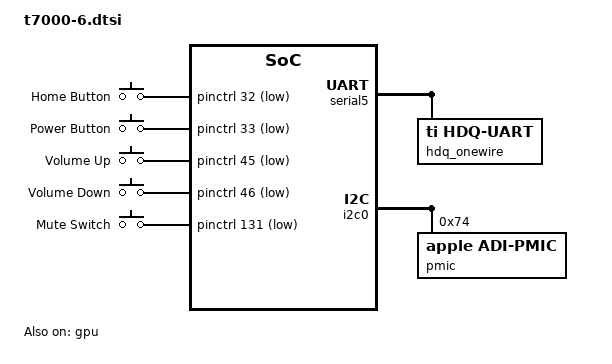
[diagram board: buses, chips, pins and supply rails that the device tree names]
// SPDX-License-Identifier: GPL-2.0+ OR MIT
/*
 * Apple iPhone 6 / 6 Plus common device tree
 * Copyright (c) 2022, Konrad Dybcio <konradybcio@kernel.org>
 */

#include <dt-bindings/input/input.h>
#include "t7000.dtsi"
#include "t7000-common.dtsi"
#include "t7000-handheld.dtsi"
#include "t7000-bcm4345.dtsi"

/ {
	chassis-type = "handset";

	aliases {
		serial5 = &serial5;
	};

	gpio-keys {
		compatible = "gpio-keys";

		button-home {
			label = "Home Button";
			gpios = <&pinctrl 32 GPIO_ACTIVE_LOW>;
			linux,code = <KEY_HOMEPAGE>;
			wakeup-source;
		};

		button-power {
			label = "Power Button";
			gpios = <&pinctrl 33 GPIO_ACTIVE_LOW>;
			linux,code = <KEY_POWER>;
			wakeup-source;
		};

		button-volup {
			label = "Volume Up";
			gpios = <&pinctrl 45 GPIO_ACTIVE_LOW>;
			linux,code = <KEY_VOLUMEUP>;
		};

		button-voldown {
			label = "Volume Down";
			gpios = <&pinctrl 46 GPIO_ACTIVE_LOW>;
			linux,code = <KEY_VOLUMEDOWN>;
		};

		switch-mute {
			label = "Mute Switch";
			gpios = <&pinctrl 131 GPIO_ACTIVE_LOW>;
			linux,code = <KEY_MUTE>;
		};
	};
};

/* The bq27540 gauge on UART5's HDQ line (ADT uart5/gas-gauge). */
&serial5 {
	pinctrl-0 = <&uart5_pins>;
	pinctrl-names = "default";
	status = "okay";

	hdq_onewire: onewire {
		compatible = "ti,hdq-uart";

		fuel_gauge: fuel-gauge {
			compatible = "ti,bq27540-hdq";
		};
	};
};

&framebuffer0 {
	power-domains = <&ps_disp0 &ps_mipi_dsi>;
};

&gpu {
	status = "okay";
};

&typhoon_opp06 {
	status = "okay";
};

&i2c0 {
	status = "okay";

	pmic@74 {
		compatible = "apple,adi-pmic", "apple,i2c-pmic";
		reg = <0x74>;
		#address-cells = <1>;
		#size-cells = <1>;

		pmu_gpio: gpio {
			compatible = "apple,d2186-pmic-gpio";
			gpio-controller;
			#gpio-cells = <2>;
			/* Only Bluetooth (8) and Wi-Fi (10) REG_ON are used; the others stay as iBoot left them. */
			gpio-reserved-ranges = <0 8>, <9 1>, <11 10>;
		};

		rtc@5c0 {
			compatible = "apple,adi-pmic-rtc", "apple,amber-pmic-rtc";
			reg = <0x5c0 0x10>;
			nvmem-cells = <&rtc_offset>;
			nvmem-cell-names = "rtc_offset";
		};

		/*
		 * The PMIC's housekeeping ADC, as on the iPod touch 6. The
		 * iPhone 6 has a bq27540 gauge for the battery, so no
		 * apple,d2186-battery node: it would report the same battery
		 * a second time.
		 */
		pmu_adc: adc@500 {
			compatible = "apple,d2186-adc";
			reg = <0x500 0x24>;
			#io-channel-cells = <1>;
		};

		nvmem@4000 {
			compatible = "apple,pmic-nvmem";
			reg = <0x4000 0x28>;

			nvmem-layout {
				compatible = "fixed-layout";
				#address-cells = <1>;
				#size-cells = <1>;

				rtc_offset: rtc-offset@4 {
					reg = <0x4 0x4>;
				};
			};
		};
	};
};

/* The boot loader set up the display; nothing restores it after power loss. */
&ps_disp0 {
	apple,always-on;
	apple,manual-pm;
};

&ps_mipi_dsi {
	apple,always-on;
	apple,manual-pm;
};
